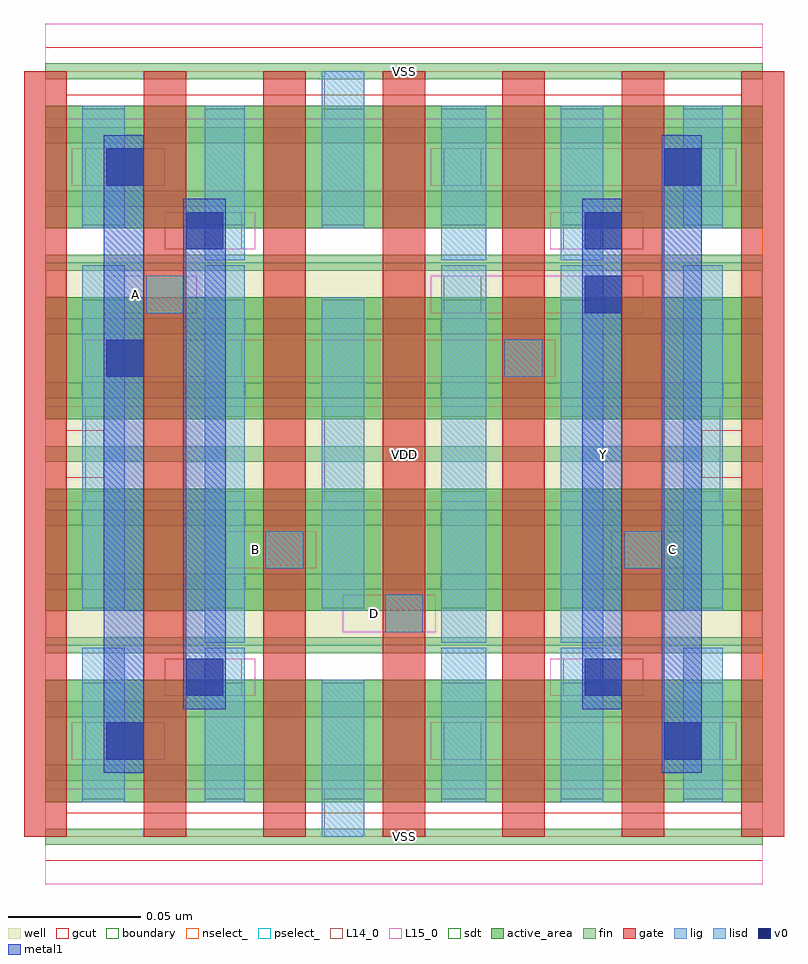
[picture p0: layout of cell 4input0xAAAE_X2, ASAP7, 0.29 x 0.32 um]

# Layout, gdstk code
import gdstk
lib = gdstk.Library(unit=1e-6, precision=1e-09)
def R(c, l, rs):  # rectangles x0, y0, x1, y1
    for r in rs: c.add(gdstk.rectangle(r[:2], r[2:], *l))
def A(c, l, x, y, w, h, nx, ny, dx, dy):  # array of equal rectangles
    R(c, l, [(x+i*dx, y+j*dy, x+i*dx+w, y+j*dy+h) for i in range(nx) for j in range(ny)])
def P(c, l, *ps):  # polygons
    for p in ps: c.add(gdstk.Polygon(p, *l))
well = (1, 0)
fin = (2, 0)
gate = (7, 0)
gcut = (10, 0)
active_area = (11, 0)
nselect_ = (12, 0)
pselect_ = (13, 0)
L14_0 = (14, 0)
L15_0 = (15, 0)
lig = (16, 0)
lisd = (17, 0)
v0 = (18, 0)
metal1 = (19, 0)
sdt = (88, 0)
boundary = (100, 0)

c_4input0xaaae_x2 = lib.new_cell('4input0xAAAE_X2')
R(c_4input0xaaae_x2, well, [(0,0.072,0.27,0.144), (0,0.144,0.27,0.216)])
A(c_4input0xaaae_x2, fin, 0, -0.003, 0.27, 0.006, 1, 13, 0, 0.024)
A(c_4input0xaaae_x2, gate, -0.008, 0, 0.016, 0.288, 7, 1, 0.045, 0)
P(c_4input0xaaae_x2, gcut, [(0,-0.009),(0,0),(-0.008,0),(-0.008,0.279),(0.008,0.279),(0.008,0.153),(0.022,0.153),(0.022,0.135),(0.008,0.135),(0.008,0.009),(0.262,0.009),(0.262,0.135),(0.247,0.135),(0.247,0.153),(0.262,0.153),(0.262,0.279),(-0.008,0.279),(-0.008,0.288),(0,0.288),(0,0.297),(0.27,0.297),(0.27,0.288),(0.278,0.288),(0.278,0),(0.27,0),(0.27,-0.009)])
A(c_4input0xaaae_x2, active_area, 0, 0.013, 0.27, 0.046, 1, 4, 0, 0.072)
R(c_4input0xaaae_x2, nselect_, [(0,0,0.27,0.072), (0,0.216,0.27,0.288)])
R(c_4input0xaaae_x2, pselect_, [(0,0.072,0.27,0.144), (0,0.144,0.27,0.216)])
R(c_4input0xaaae_x2, L14_0, [(0.105,0,0.12,0.018), (0.015,0.029,0.03,0.043), (0.15,0.029,0.164,0.043), (0.24,0.029,0.254,0.043), (0.06,0.053,0.074,0.067), (0.195,0.053,0.209,0.067), (0.128,0.077,0.142,0.091), (0.083,0.101,0.097,0.115), (0.218,0.101,0.232,0.115), (0.015,0.126,0.03,0.144), (0.105,0.126,0.12,0.144), (0.24,0.126,0.254,0.144), (0.015,0.144,0.03,0.162), (0.105,0.144,0.12,0.162), (0.24,0.144,0.254,0.162), (0.06,0.173,0.074,0.187), (0.173,0.173,0.187,0.187), (0.038,0.197,0.052,0.211), (0.15,0.197,0.164,0.211), (0.06,0.221,0.074,0.235), (0.195,0.221,0.209,0.235), (0.015,0.245,0.03,0.259), (0.15,0.245,0.164,0.259), (0.24,0.245,0.254,0.259), (0.105,0.27,0.12,0.288)])
A(c_4input0xaaae_x2, L15_0, 0, -0.018, 0.27, 0.036, 1, 3, 0, 0.144)
R(c_4input0xaaae_x2, L15_0, [(0.01,0.029,0.045,0.043), (0.145,0.029,0.26,0.043), (0.045,0.053,0.079,0.067), (0.19,0.053,0.225,0.067), (0.112,0.077,0.147,0.091), (0.068,0.101,0.102,0.115), (0.213,0.101,0.247,0.115), (0.015,0.173,0.192,0.187), (0.022,0.197,0.057,0.211), (0.145,0.197,0.225,0.211), (0.045,0.221,0.079,0.235), (0.19,0.221,0.225,0.235), (0.01,0.245,0.045,0.259), (0.145,0.245,0.26,0.259)])
R(c_4input0xaaae_x2, lig, [(0.128,0.077,0.142,0.091), (0.083,0.101,0.097,0.115), (0.218,0.101,0.232,0.115), (0.173,0.173,0.187,0.187), (0.038,0.197,0.052,0.211)])
R(c_4input0xaaae_x2, lisd, [(0.104,0,0.12,0.059), (0.014,0.013,0.03,0.071), (0.06,0.013,0.075,0.071), (0.149,0.013,0.166,0.071), (0.194,0.013,0.21,0.071), (0.24,0.013,0.255,0.071), (0.06,0.073,0.075,0.215), (0.149,0.073,0.166,0.215), (0.194,0.073,0.21,0.215), (0.014,0.085,0.03,0.215), (0.104,0.085,0.12,0.203), (0.24,0.085,0.255,0.215), (0.06,0.217,0.075,0.275), (0.149,0.217,0.166,0.275), (0.194,0.217,0.21,0.275), (0.014,0.229,0.03,0.275), (0.104,0.229,0.12,0.288), (0.24,0.229,0.255,0.275)])
R(c_4input0xaaae_x2, v0, [(0.023,0.029,0.037,0.043), (0.233,0.029,0.247,0.043), (0.053,0.053,0.067,0.067), (0.203,0.053,0.217,0.067), (0.023,0.173,0.037,0.187), (0.203,0.197,0.217,0.211), (0.053,0.221,0.067,0.235), (0.203,0.221,0.217,0.235), (0.023,0.245,0.037,0.259), (0.233,0.245,0.247,0.259)])
R(c_4input0xaaae_x2, metal1, [(0.022,0.024,0.037,0.264), (0.232,0.024,0.247,0.264), (0.052,0.048,0.068,0.24), (0.202,0.048,0.217,0.24)])
A(c_4input0xaaae_x2, sdt, 0.014, 0.014, 0.016, 0.044, 3, 4, 0.09, 0.072)
A(c_4input0xaaae_x2, sdt, 0.06, 0.014, 0.015, 0.044, 1, 4, 0, 0.072)
A(c_4input0xaaae_x2, sdt, 0.149, 0.014, 0.017, 0.044, 1, 4, 0, 0.072)
A(c_4input0xaaae_x2, sdt, 0.24, 0.014, 0.015, 0.044, 1, 4, 0, 0.072)
R(c_4input0xaaae_x2, boundary, [(0,0,0.27,0.288)])
c_4input0xaaae_x2.add(gdstk.Label('D', (0.124,0.084), layer=15, texttype=251))
c_4input0xaaae_x2.add(gdstk.Label('VSS', (0.135,0), layer=15, texttype=251))
c_4input0xaaae_x2.add(gdstk.Label('VDD', (0.135,0.144), layer=15, texttype=251))
c_4input0xaaae_x2.add(gdstk.Label('VDD', (0.135,0.144), layer=15, texttype=251))
c_4input0xaaae_x2.add(gdstk.Label('VSS', (0.135,0.288), layer=15, texttype=251))
c_4input0xaaae_x2.add(gdstk.Label('C', (0.236,0.108), layer=15, texttype=251))
c_4input0xaaae_x2.add(gdstk.Label('VSS', (0.135,0), layer=15, texttype=251))
c_4input0xaaae_x2.add(gdstk.Label('VDD', (0.135,0.144), layer=15, texttype=251))
c_4input0xaaae_x2.add(gdstk.Label('VDD', (0.135,0.144), layer=15, texttype=251))
c_4input0xaaae_x2.add(gdstk.Label('VSS', (0.135,0.288), layer=15, texttype=251))
c_4input0xaaae_x2.add(gdstk.Label('A', (0.034,0.204), layer=15, texttype=251))
c_4input0xaaae_x2.add(gdstk.Label('VSS', (0.135,0), layer=15, texttype=251))
c_4input0xaaae_x2.add(gdstk.Label('VDD', (0.135,0.144), layer=15, texttype=251))
c_4input0xaaae_x2.add(gdstk.Label('VDD', (0.135,0.144), layer=15, texttype=251))
c_4input0xaaae_x2.add(gdstk.Label('VSS', (0.135,0.288), layer=15, texttype=251))
c_4input0xaaae_x2.add(gdstk.Label('VSS', (0.135,0), layer=15, texttype=251))
c_4input0xaaae_x2.add(gdstk.Label('VDD', (0.135,0.144), layer=15, texttype=251))
c_4input0xaaae_x2.add(gdstk.Label('VDD', (0.135,0.144), layer=15, texttype=251))
c_4input0xaaae_x2.add(gdstk.Label('VSS', (0.135,0.288), layer=15, texttype=251))
c_4input0xaaae_x2.add(gdstk.Label('B', (0.079,0.108), layer=15, texttype=251))
c_4input0xaaae_x2.add(gdstk.Label('VSS', (0.135,0), layer=15, texttype=251))
c_4input0xaaae_x2.add(gdstk.Label('VDD', (0.135,0.144), layer=15, texttype=251))
c_4input0xaaae_x2.add(gdstk.Label('VDD', (0.135,0.144), layer=15, texttype=251))
c_4input0xaaae_x2.add(gdstk.Label('VSS', (0.135,0.288), layer=15, texttype=251))
c_4input0xaaae_x2.add(gdstk.Label('VSS', (0.135,0), layer=3, texttype=251))
c_4input0xaaae_x2.add(gdstk.Label('VSS', (0.135,0.288), layer=3, texttype=251))
c_4input0xaaae_x2.add(gdstk.Label('VSS', (0.135,0), layer=3, texttype=251))
c_4input0xaaae_x2.add(gdstk.Label('VSS', (0.135,0.288), layer=3, texttype=251))
c_4input0xaaae_x2.add(gdstk.Label('VSS', (0.135,0), layer=3, texttype=251))
c_4input0xaaae_x2.add(gdstk.Label('VSS', (0.135,0.288), layer=3, texttype=251))
c_4input0xaaae_x2.add(gdstk.Label('VSS', (0.135,0), layer=3, texttype=251))
c_4input0xaaae_x2.add(gdstk.Label('VSS', (0.135,0.288), layer=3, texttype=251))
c_4input0xaaae_x2.add(gdstk.Label('VSS', (0.135,0), layer=3, texttype=251))
c_4input0xaaae_x2.add(gdstk.Label('VSS', (0.135,0.288), layer=3, texttype=251))
c_4input0xaaae_x2.add(gdstk.Label('VDD', (0.135,0.144), layer=1, texttype=251))
c_4input0xaaae_x2.add(gdstk.Label('VDD', (0.135,0.144), layer=1, texttype=251))
c_4input0xaaae_x2.add(gdstk.Label('VDD', (0.135,0.144), layer=1, texttype=251))
c_4input0xaaae_x2.add(gdstk.Label('VDD', (0.135,0.144), layer=1, texttype=251))
c_4input0xaaae_x2.add(gdstk.Label('VDD', (0.135,0.144), layer=1, texttype=251))
c_4input0xaaae_x2.add(gdstk.Label('VDD', (0.135,0.144), layer=1, texttype=251))
c_4input0xaaae_x2.add(gdstk.Label('VDD', (0.135,0.144), layer=1, texttype=251))
c_4input0xaaae_x2.add(gdstk.Label('VDD', (0.135,0.144), layer=1, texttype=251))
c_4input0xaaae_x2.add(gdstk.Label('VDD', (0.135,0.144), layer=1, texttype=251))
c_4input0xaaae_x2.add(gdstk.Label('VDD', (0.135,0.144), layer=1, texttype=251))
c_4input0xaaae_x2.add(gdstk.Label('Y', (0.21,0.144), layer=19, texttype=251))

lib.write_gds('4input0xAAAE_X2.gds')
